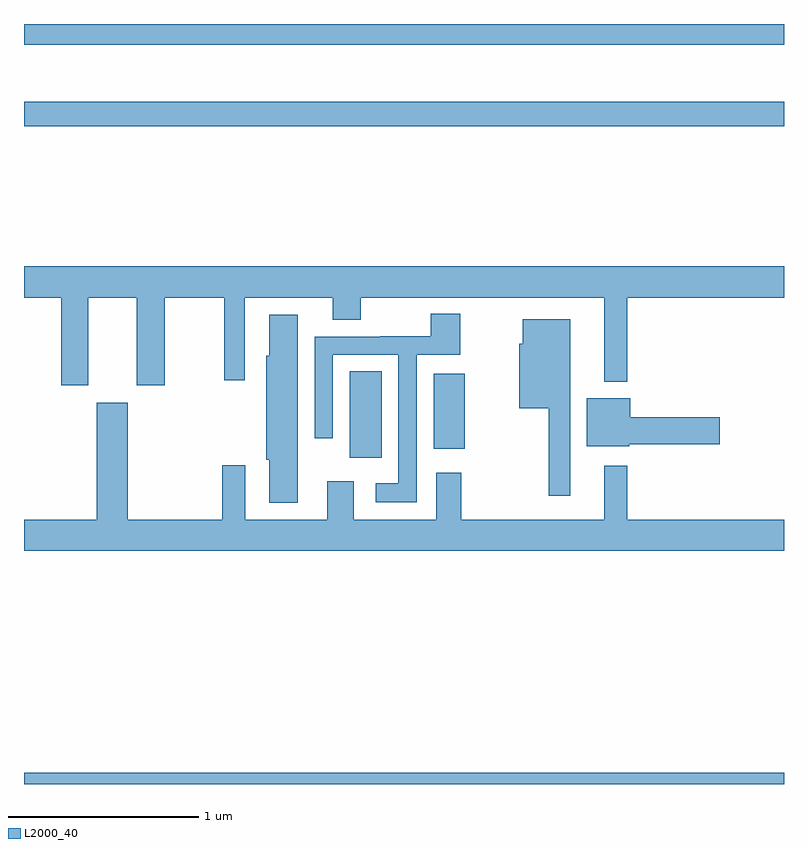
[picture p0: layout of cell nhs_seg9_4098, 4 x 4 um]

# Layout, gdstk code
import gdstk
lib = gdstk.Library(unit=1e-6, precision=1e-09)
def R(c, l, rs):  # rectangles x0, y0, x1, y1
    for r in rs: c.add(gdstk.rectangle(r[:2], r[2:], *l))
def P(c, l, *ps):  # polygons
    for p in ps: c.add(gdstk.Polygon(p, *l))
L2000_40 = (2000, 40)

nhs_seg9_4098 = lib.new_cell('nhs_seg9_4098')
R(nhs_seg9_4098, L2000_40, [(345,1220.5,349,1220.56), (346.715,1222.218,346.882,1222.673), (347.156,1222.265,347.32,1222.66), (345,1223.962,349,1224.091), (345,1224.392,349,1224.5)])
P(nhs_seg9_4098, L2000_40, [(345,1223.06),(345.197,1223.06),(345.197,1222.599),(345.337,1222.599),(345.337,1223.06),(345.593,1223.06),(345.593,1222.599),(345.741,1222.599),(345.741,1223.06),(346.053,1223.06),(346.053,1222.626),(346.162,1222.626),(346.162,1223.06),(346.625,1223.06),(346.625,1222.943),(346.773,1222.943),(346.773,1223.06),(348.053,1223.06),(348.053,1222.616),(348.175,1222.616),(348.175,1223.06),(349,1223.06),(349,1223.224),(345,1223.224)],
  [(347.067,1222.758),(347.295,1222.758),(347.295,1222.975),(347.14,1222.975),(347.14,1222.856),(346.874,1222.856),(346.874,1222.854),(346.53,1222.854),(346.53,1222.32),(346.626,1222.32),(346.626,1222.758),(346.971,1222.758),(346.971,1222.084),(346.851,1222.084),(346.851,1221.983),(347.067,1221.983)],
  [(346.441,1222.969),(346.292,1222.969),(346.292,1222.755),(346.274,1222.755),(346.274,1222.206),(346.292,1222.206),(346.292,1221.981),(346.441,1221.981)],
  [(347.875,1222.945),(347.624,1222.945),(347.624,1222.818),(347.606,1222.818),(347.606,1222.478),(347.761,1222.478),(347.761,1222.017),(347.875,1222.017)],
  [(348.186,1222.288),(348.661,1222.288),(348.661,1222.43),(348.19,1222.43),(348.19,1222.531),(347.963,1222.531),(347.963,1222.277),(348.186,1222.277)],
  [(349,1221.892),(348.175,1221.892),(348.175,1222.174),(348.053,1222.174),(348.053,1221.892),(347.301,1221.892),(347.301,1222.138),(347.171,1222.138),(347.171,1221.892),(346.735,1221.892),(346.735,1222.093),(346.595,1222.093),(346.595,1221.892),(346.165,1221.892),(346.165,1222.177),(346.044,1222.177),(346.044,1221.892),(345.547,1221.892),(345.547,1222.507),(345.383,1222.507),(345.383,1221.892),(345,1221.892),(345,1221.728),(349,1221.728)])

lib.write_gds('nhs_seg9_4098.gds')
